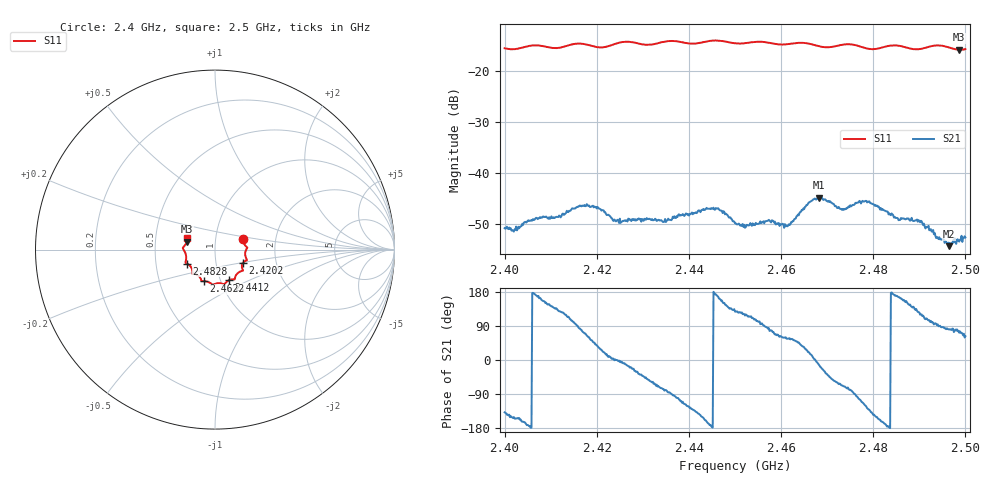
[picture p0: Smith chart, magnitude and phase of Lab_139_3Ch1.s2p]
# Hz S RI R 50
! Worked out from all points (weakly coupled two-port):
!   601 points, 2.4 GHz to 2.5 GHz, reference 50 ohm
!   highest |S21| = -44.76 dB at 2.4682 GHz (marker M1); lowest = -54.3 dB at 2.4965 GHz (marker M2)
!   lowest |S11| = -15.8 dB at 2.4987 GHz (marker M3), VSWR 1.39, Z = 36.3 + j3.26 ohm
!   |S11| at or under -10 dB: start of sweep to end of sweep
!   S12 and S22 are empty: the file has one direction only
!   S11 on the Smith chart (normalised r, x): 2.4 GHz: 1.36, +0.17; 2.4202 GHz: 1.36, -0.20; 2.4412 GHz: 1.09, -0.39; 2.4622 GHz: 0.83, -0.30; 2.4828 GHz: 0.72, -0.12; 2.5 GHz: 0.73, +0.09
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2.4e9  0.1573 0.0608  -0.00216 -0.00194  0 0  0 0
2.402333e9  0.162 0.0332  -0.00253 -0.0012  0 0  0 0
2.404667e9  0.1745 0.0164  -0.00324 -0.000612  0 0  0 0
2.411833e9  0.168 -0.0279  -0.00241 0.00302  0 0  0 0
2.416667e9  0.1774 -0.0592  0.000862 0.00468  0 0  0 0
2.420167e9  0.157 -0.0719  0.00375 0.00282  0 0  0 0
2.424333e9  0.1532 -0.1093  0.00344 -1.91e-06  0 0  0 0
2.433333e9  0.1127 -0.1521  0.0013 -0.00326  0 0  0 0
2.441167e9  0.0757 -0.1713  -0.00277 -0.00297  0 0  0 0
2.446333e9  0.0504 -0.1943  -0.00444 0.000989  0 0  0 0
2.45e9  0.0271 -0.1868  -0.00199 0.00256  0 0  0 0
2.462167e9  -0.0627 -0.1762  0.0019 0.00273  0 0  0 0
2.466667e9  -0.0774 -0.1674  0.00527 0.00114  0 0  0 0
2.468167e9  -0.0827 -0.1565  0.00566 -0.00118  0 0  0 0
2.473333e9  -0.1223 -0.1354  0.00172 -0.00414  0 0  0 0
2.478667e9  -0.1285 -0.1074  -0.00312 -0.00415  0 0  0 0
2.482833e9  -0.1578 -0.0778  -0.0042 -0.00057  0 0  0 0
2.483333e9  -0.1606 -0.0766  -0.00395 -0.000341  0 0  0 0
2.49e9  -0.1639 -0.0232  -0.00198 0.00278  0 0  0 0
2.4965e9  -0.1702 0.0206  0.000313 0.00191  0 0  0 0
2.498667e9  -0.1569 0.0437  0.000662 0.00204  0 0  0 0
2.5e9  -0.1532 0.0622  0.00108 0.00209  0 0  0 0
